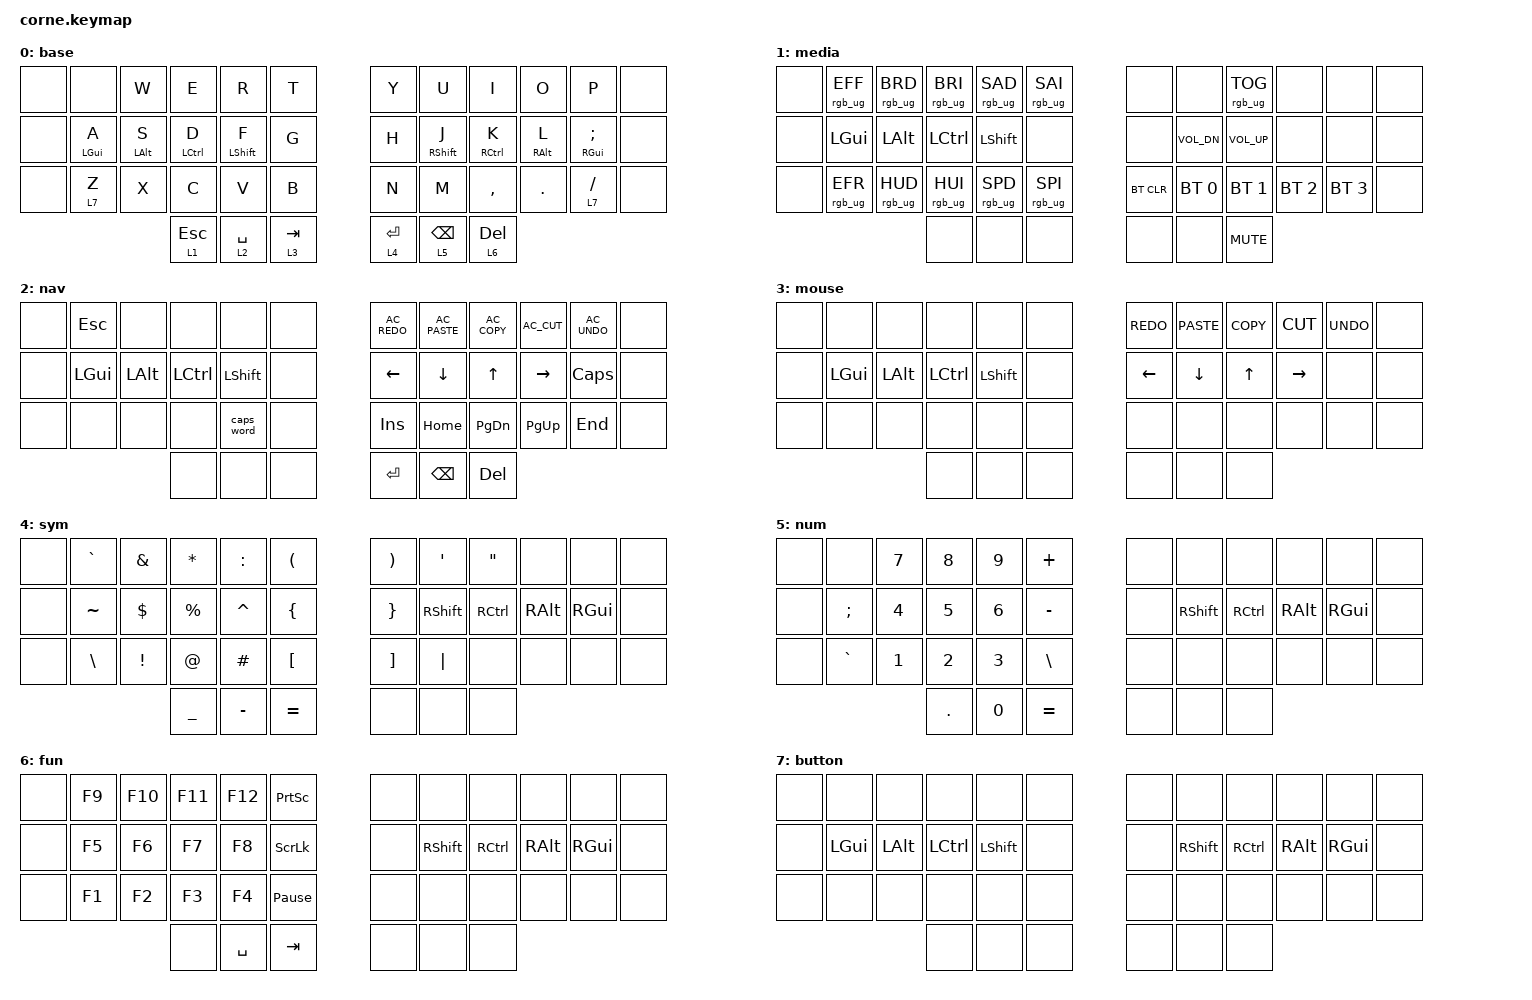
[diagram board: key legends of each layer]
/*
 * Copyright (c) 2020 The ZMK Contributors
 *
 * SPDX-License-Identifier: MIT
 */

#include <behaviors.dtsi>
#include <dt-bindings/zmk/bt.h>
#include <dt-bindings/zmk/keys.h>
#include <dt-bindings/zmk/keys.h>
#include <dt-bindings/zmk/rgb.h>

&mt { flavor = "tap-preferred"; };

/ {
    macros {
        swe1: swe2 {
            compatible = "zmk,behavior-macro";
            #binding-cells = <0>;
            bindings = <&kp LA(LEFT_SHIFT) &kp LEFT_BRACKET &kp LA(LEFT_SHIFT)>;
            label = "SWE2";
        };

        swe2: swe11 {
            compatible = "zmk,behavior-macro";
            #binding-cells = <0>;
            bindings = <&kp LA(LEFT_SHIFT) &kp SQT &kp LA(LEFT_SHIFT)>;
            label = "SWE11";
        };

        swe3: swe3 {
            compatible = "zmk,behavior-macro";
            #binding-cells = <0>;
            bindings = <&kp LA(LEFT_SHIFT) &kp SEMICOLON &kp LA(LEFT_SHIFT)>;
            label = "SWE3";
        };

        swe11: swe4 {
            compatible = "zmk,behavior-macro";
            #binding-cells = <0>;
            bindings = <&kt LEFT_ALT &kp N1 &kp N3 &kp N4>;
            label = "SWE4";
        };

        swe22: swe22 {
            compatible = "zmk,behavior-macro";
            #binding-cells = <0>;
            bindings = <&kt LEFT_ALT &kp N1 &kp N3 &kp N2>;
            label = "SWE22";
        };

        swe33: swe33 {
            compatible = "zmk,behavior-macro";
            #binding-cells = <0>;
            bindings = <&kt LEFT_ALT &kp N1 &kp N4 &kp N8>;
            label = "SWE33";
        };
    };

    keymap {
        compatible = "zmk,keymap";

        base {
            bindings = <
&none  &none           &kp W           &kp E               &kp R             &kp T        &kp Y        &kp U              &kp I                &kp O            &kp P                    &none
&none  &mt LEFT_GUI A  &mt LEFT_ALT S  &mt LEFT_CONTROL D  &mt LEFT_SHIFT F  &kp G        &kp H        &mt RIGHT_SHIFT J  &mt RIGHT_CONTROL K  &mt RIGHT_ALT L  &mt RIGHT_GUI SEMICOLON  &none
&none  &lt 7 Z         &kp X           &kp C               &kp V             &kp B        &kp N        &kp M              &kp COMMA            &kp DOT          &lt 7 SLASH              &none
                                       &lt 1 ESCAPE        &lt 2 SPACE       &lt 3 TAB    &lt 4 ENTER  &lt 5 BACKSPACE    &lt 6 DELETE
            >;

            label = "base";
        };

        media {
            bindings = <
&none  &rgb_ug RGB_EFF  &rgb_ug RGB_BRD  &rgb_ug RGB_BRI  &rgb_ug RGB_SAD  &rgb_ug RGB_SAI    &none       &none         &rgb_ug RGB_TOG  &none         &none         &none
&none  &kp LGUI         &kp LALT         &kp LCTRL        &kp LSHFT        &none              &none       &kp C_VOL_DN  &kp C_VOLUME_UP  &none         &none         &none
&none  &rgb_ug RGB_EFR  &rgb_ug RGB_HUD  &rgb_ug RGB_HUI  &rgb_ug RGB_SPD  &rgb_ug RGB_SPI    &bt BT_CLR  &bt BT_SEL 0  &bt BT_SEL 1     &bt BT_SEL 2  &bt BT_SEL 3  &none
                                         &none            &none            &none              &none       &none         &kp C_MUTE
            >;

            label = "media";
        };

        nav {
            bindings = <
&none  &kp ESCAPE  &none     &none      &none       &none    &kp C_AC_REDO  &kp C_AC_PASTE  &kp C_AC_COPY  &kp C_AC_CUT  &kp C_AC_UNDO  &none
&none  &kp LGUI    &kp LALT  &kp LCTRL  &kp LSHFT   &none    &kp LEFT       &kp DOWN        &kp UP         &kp RIGHT     &kp CAPS       &none
&none  &none       &none     &none      &caps_word  &none    &kp INSERT     &kp HOME        &kp PG_DN      &kp PG_UP     &kp END        &none
                             &none      &none       &none    &kp RET        &kp BSPC        &kp DEL
            >;

            label = "nav";
        };

        mouse {
            bindings = <
&none  &none     &none     &none      &none      &none    &kp K_REDO  &kp K_PASTE  &kp K_COPY  &kp K_CUT  &kp K_UNDO  &none
&none  &kp LGUI  &kp LALT  &kp LCTRL  &kp LSHFT  &none    &kp LEFT    &kp DOWN     &kp UP      &kp RIGHT  &none       &none
&none  &none     &none     &none      &none      &none    &none       &none        &none       &none      &none       &none
                           &none      &none      &none    &none       &none        &none
            >;

            label = "mouse";
        };

        sym {
            bindings = <
&none  &kp GRAVE      &kp AMPERSAND    &kp ASTERISK    &kp COLON  &kp LEFT_PARENTHESIS    &kp RIGHT_PARENTHESIS  &kp SQT    &kp DOUBLE_QUOTES  &none     &none     &none
&none  &kp TILDE      &kp DOLLAR       &kp PERCENT     &kp CARET  &kp LEFT_BRACE          &kp RIGHT_BRACE        &kp RSHFT  &kp RCTRL          &kp RALT  &kp RGUI  &none
&none  &kp BACKSLASH  &kp EXCLAMATION  &kp AT_SIGN     &kp HASH   &kp LEFT_BRACKET        &kp RIGHT_BRACKET      &kp PIPE   &none              &none     &none     &none
                                       &kp UNDERSCORE  &kp MINUS  &kp EQUAL               &none                  &none      &none
            >;

            label = "sym";
        };

        num {
            bindings = <
&none  &none      &kp N7  &kp N8   &kp N9  &kp PLUS     &none  &none      &none      &none     &none     &none
&none  &kp SEMI   &kp N4  &kp N5   &kp N6  &kp MINUS    &none  &kp RSHFT  &kp RCTRL  &kp RALT  &kp RGUI  &none
&none  &kp GRAVE  &kp N1  &kp N2   &kp N3  &kp BSLH     &none  &none      &none      &none     &none     &none
                          &kp DOT  &kp N0  &kp EQUAL    &none  &none      &none
            >;

            label = "num";
        };

        fun {
            bindings = <
&none  &kp F9  &kp F10  &kp F11  &kp F12    &kp PRINTSCREEN    &none  &none      &none      &none     &none     &none
&none  &kp F5  &kp F6   &kp F7   &kp F8     &kp SCROLLLOCK     &none  &kp RSHFT  &kp RCTRL  &kp RALT  &kp RGUI  &none
&none  &kp F1  &kp F2   &kp F3   &kp F4     &kp PAUSE_BREAK    &none  &none      &none      &none     &none     &none
                        &none    &kp SPACE  &kp TAB            &none  &none      &none
            >;

            label = "fun";
        };

        button {
            bindings = <
&none  &none     &none     &none      &none      &none    &none  &none      &none      &none     &none     &none
&none  &kp LGUI  &kp LALT  &kp LCTRL  &kp LSHFT  &none    &none  &kp RSHFT  &kp RCTRL  &kp RALT  &kp RGUI  &none
&none  &none     &none     &none      &none      &none    &none  &none      &none      &none     &none     &none
                           &none      &none      &none    &none  &none      &none
            >;

            label = "button";
        };
    };
};

&led_strip { chain-length = <27>; };
